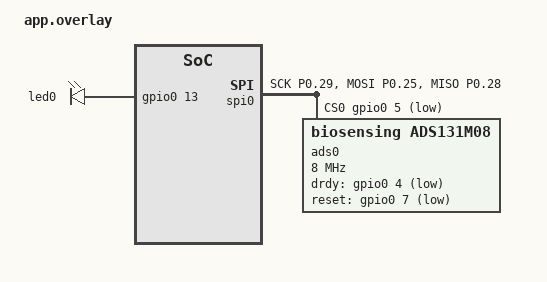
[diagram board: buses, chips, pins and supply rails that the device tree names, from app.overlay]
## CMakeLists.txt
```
cmake_minimum_required(VERSION 3.20.0)
# Standalone application: no external source tree or configuration fragments.
include(${CMAKE_CURRENT_LIST_DIR}/board.cmake)
set(USER_CACHE_DIR "${CMAKE_BINARY_DIR}/.cache" CACHE PATH "Local compiler cache")
# The SDK DK runner also targets its onboard nRF52832; this is a real nRF52810.
# This application hook runs as the SDK finalizes each runner (NCS v3.3.1).
macro(app_set_runner_args)
  get_property(bio_jlink_args GLOBAL PROPERTY BOARD_RUNNER_ARGS_EXPLICIT_jlink)
  list(FILTER bio_jlink_args EXCLUDE REGEX "^--device=")
  set_property(GLOBAL PROPERTY BOARD_RUNNER_ARGS_EXPLICIT_jlink ${bio_jlink_args})
  board_runner_args(jlink "--device=nRF52810_xxAA")
  # The DK finalizes OpenOCD after pyOCD, before writing runner metadata.
  # Remove its already-registered nRF52832 pyOCD target in this hook.
  get_property(bio_runners GLOBAL PROPERTY ZEPHYR_RUNNERS)
  list(REMOVE_ITEM bio_runners pyocd)
  set_property(GLOBAL PROPERTY ZEPHYR_RUNNERS ${bio_runners})
endmacro()
find_package(Zephyr REQUIRED HINTS $ENV{ZEPHYR_BASE})
project(biosensing)
if(CONFIG_SOC_NRF52810)
  # SDK nrf52dk/nrf52810 emulates an 810 on a 832. This carrier has real 810 silicon.
  get_property(bio_defs TARGET zephyr_interface PROPERTY INTERFACE_COMPILE_DEFINITIONS)
  list(REMOVE_ITEM bio_defs DEVELOP_IN_NRF52832 NRFX_COREDEP_DELAY_US_LOOP_CYCLES=3)
  set_property(TARGET zephyr_interface PROPERTY INTERFACE_COMPILE_DEFINITIONS "${bio_defs}")
endif()
target_include_directories(app PRIVATE include)
target_sources(app PRIVATE src/main.c src/app.c src/protocol.c src/transport.c src/ble.c)
target_sources_ifdef(CONFIG_BIO_ADS app PRIVATE src/ads131m08.c)
target_sources_ifdef(CONFIG_BIO_I2C_SENSORS app PRIVATE src/sensors.c)
target_sources_ifdef(CONFIG_BIO_USB app PRIVATE src/usb.c)
target_sources_ifdef(CONFIG_BIO_AUX_UART app PRIVATE src/aux_uart.c)
target_sources_ifdef(CONFIG_BIO_AUDIO app PRIVATE src/audio.c)
target_sources_ifdef(CONFIG_BIO_DMIC app PRIVATE src/dmic.c)
```

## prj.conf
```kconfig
# bt832a: default preset. This is the complete configuration.
# Select nrf52dk/nrf52810 with NCS v3.3.1 and sysbuild.
# No EXTRA_CONF_FILE or other custom build arguments are needed.

CONFIG_GPIO=y
CONFIG_BT=y
CONFIG_BT_PERIPHERAL=y
CONFIG_BT_MAX_CONN=1
CONFIG_LOG=y
CONFIG_LOG_DEFAULT_LEVEL=3
CONFIG_USE_SEGGER_RTT=y
CONFIG_CONSOLE=y
CONFIG_UART_CONSOLE=n
CONFIG_RTT_CONSOLE=y
CONFIG_LOG_BACKEND_UART=n
CONFIG_LOG_BACKEND_RTT=n
CONFIG_SHELL_BACKEND_SERIAL=n
CONFIG_SHELL_VT100_COLORS=n
CONFIG_SHELL_CMDS_RESIZE=n
CONFIG_REBOOT=y
CONFIG_SERIAL=n
# Modules do not require an external 32.768 kHz crystal for bring-up.
CONFIG_CLOCK_CONTROL_NRF_K32SRC_RC=y
CONFIG_CLOCK_CONTROL_NRF_K32SRC_XTAL=n

# Historical nrf52832A directory actually selected nRF52810 (192K/24K).
CONFIG_BIO_PROFILE="BT832A / nRF52810 legacy"
CONFIG_BT_DEVICE_NAME="BT832A-v3"
CONFIG_SHELL=n
CONFIG_SHELL_BACKEND_RTT=n
CONFIG_BIO_TX_DEPTH=2
CONFIG_BIO_COMMAND_DEPTH=2
CONFIG_BIO_REPLY_DEPTH=1
CONFIG_BIO_ADS_STACK=1024
CONFIG_BT_RX_STACK_SIZE=1024
CONFIG_MAIN_STACK_SIZE=1536
CONFIG_SYSTEM_WORKQUEUE_STACK_SIZE=1536
CONFIG_BT_RECV_WORKQ_SYS=y
CONFIG_LOG_MODE_MINIMAL=y
CONFIG_SEGGER_RTT_BUFFER_SIZE_UP=256
CONFIG_ISR_STACK_SIZE=1024
# Small ATT buffers: use the framed stream, not the 227-byte legacy notification.
CONFIG_BT_L2CAP_TX_MTU=64
CONFIG_BT_BUF_ACL_RX_SIZE=68
CONFIG_BT_BUF_ACL_TX_SIZE=68
CONFIG_BT_BUF_EVT_RX_COUNT=3
CONFIG_BT_BUF_EVT_DISCARDABLE_COUNT=1
CONFIG_BT_BUF_ACL_TX_COUNT=1
CONFIG_BT_L2CAP_TX_BUF_COUNT=2
CONFIG_BT_L2CAP_TX_FRAG_COUNT=1
CONFIG_BT_ATT_TX_COUNT=1
CONFIG_BT_CTLR_SDC_TX_PACKET_COUNT=1
CONFIG_BT_CTLR_SDC_RX_PACKET_COUNT=1
CONFIG_HEAP_MEM_POOL_SIZE=512
CONFIG_SIZE_OPTIMIZATIONS=y
```

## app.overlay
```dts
// bt832a: complete carrier overlay; automatically loaded by Zephyr.
#include <zephyr/dt-bindings/gpio/gpio.h>
#include <zephyr/dt-bindings/pinctrl/nrf-pinctrl.h>
/ { aliases { bio-led = &led0; ads0 = &ads0; }; };
&led0 { gpios = <&gpio0 13 GPIO_ACTIVE_HIGH>; };
&led1 { status = "disabled"; };
&led2 { status = "disabled"; };
&led3 { status = "disabled"; };
&button0 { status = "disabled"; };
&button1 { status = "disabled"; };
&button2 { status = "disabled"; };
&button3 { status = "disabled"; };
&uart0 { status = "disabled"; };
&i2c0 { status = "disabled"; };
&adc { status = "disabled"; };
&gpio0 { /delete-property/ gpio-reserved-ranges; };
&spi0 {
	// Polling SPI also works on nRF52810, which has no SPIM EasyDMA.
	compatible = "nordic,nrf-spi";
	status = "okay";
	pinctrl-0 = <&bio_spi_default>;
	pinctrl-1 = <&bio_spi_sleep>;
	pinctrl-names = "default", "sleep";
	cs-gpios = <&gpio0 5 GPIO_ACTIVE_LOW>;
	ads0: adc@0 {
		compatible = "biosensing,ads131m08";
		reg = <0>;
		spi-max-frequency = <8000000>;
		drdy-gpios = <&gpio0 4 (GPIO_ACTIVE_LOW | GPIO_PULL_UP)>;
		reset-gpios = <&gpio0 7 GPIO_ACTIVE_LOW>;
	};
};
&pinctrl {
	bio_spi_default: bio_spi_default { group1 { psels = <NRF_PSEL(SPIM_SCK, 0, 29)>, <NRF_PSEL(SPIM_MOSI, 0, 25)>, <NRF_PSEL(SPIM_MISO, 0, 28)>; }; };
	bio_spi_sleep: bio_spi_sleep { group1 { psels = <NRF_PSEL(SPIM_SCK, 0, 29)>, <NRF_PSEL(SPIM_MOSI, 0, 25)>, <NRF_PSEL(SPIM_MISO, 0, 28)>; low-power-enable; }; };
};
```

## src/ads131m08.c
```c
// Fixed 24-bit, 10-word ADS131M08 frames. Register layout follows the old driver.
#include "bio.h"
#include <string.h>
#include <zephyr/drivers/gpio.h>
#include <zephyr/drivers/spi.h>
#include <zephyr/logging/log.h>
#include <zephyr/sys/byteorder.h>
LOG_MODULE_REGISTER(bio_ads, LOG_LEVEL_INF);
#define ADS_COUNT (1 + IS_ENABLED(CONFIG_BIO_ADS_SECOND))
#define ADS_SPEC(node) { .spi = SPI_DT_SPEC_GET(node, SPI_WORD_SET(8) | SPI_MODE_CPHA), \
	.drdy = GPIO_DT_SPEC_GET(node, drdy_gpios), .reset = GPIO_DT_SPEC_GET(node, reset_gpios) }
struct ads_device {
	struct spi_dt_spec spi;
	struct gpio_dt_spec drdy, reset;
	struct gpio_callback cb;
	bool ready, running;
	atomic_t edges;
	uint8_t count, packet[227];
};
static struct ads_device adc[ADS_COUNT] = {
	ADS_SPEC(DT_ALIAS(ads0)),
#if defined(CONFIG_BIO_ADS_SECOND)
	ADS_SPEC(DT_ALIAS(ads1)),
#endif
};
K_MUTEX_DEFINE(ads_lock);
K_SEM_DEFINE(ads_wake, 0, 1);
static atomic_t pending, coalesced, spi_errors, crc_errors;

static int transfer(struct ads_device *dev, uint8_t *tx, uint8_t *rx)
{
	struct spi_buf tx_buf = { .buf = tx, .len = 30 };
	struct spi_buf rx_buf = { .buf = rx, .len = 30 };
	struct spi_buf_set tx_set = { .buffers = &tx_buf, .count = 1 };
	struct spi_buf_set rx_set = { .buffers = &rx_buf, .count = 1 };
	int err = spi_transceive_dt(&dev->spi, &tx_set, &rx_set);
	if (err) { atomic_inc(&spi_errors); }
	return err;
}
static int reg_read(struct ads_device *dev, unsigned reg, uint16_t *value)
{
	uint8_t tx[30] = {0}, rx[30];
	sys_put_be16(0xa000 | (reg << 7), tx);
	int err = transfer(dev, tx, rx);
	if (err) { return err; }
	memset(tx, 0, sizeof(tx));
	err = transfer(dev, tx, rx);
	if (!err) { *value = sys_get_be16(rx); }
	return err;
}
static int reg_write(struct ads_device *dev, unsigned reg, uint16_t value)
{
	uint8_t tx[30] = {0}, rx[30];
	sys_put_be16(0x6000 | (reg << 7), tx);
	sys_put_be16(value, tx + 3);
	int err = transfer(dev, tx, rx);
	if (err) { return err; }
	memset(tx, 0, sizeof(tx));
	err = transfer(dev, tx, rx);
	if (err) { return err; }
	if (sys_get_be16(rx) != (0x4000 | (reg << 7))) { return -EIO; }
	uint16_t actual;
	err = reg_read(dev, reg, &actual);
	return err ? err : (actual == value ? 0 : -EIO);
}
static void drdy_irq(const struct device *port, struct gpio_callback *cb, gpio_port_pins_t pins)
{
	struct ads_device *dev = CONTAINER_OF(cb, struct ads_device, cb);
	unsigned index = dev - adc;
	atomic_inc(&dev->edges);
	if (atomic_test_and_set_bit(&pending, index)) { atomic_inc(&coalesced); }
	k_sem_give(&ads_wake);
}
static bool crc_valid(const uint8_t *frame)
{
	uint16_t crc = 0xffff;
	for (unsigned i = 0; i < 27; i++) {
		crc ^= (uint16_t)frame[i] << 8;
		for (unsigned j = 0; j < 8; j++) { crc = (crc & 0x8000) ? (crc << 1) ^ 0x1021 : crc << 1; }
	}
	return crc == sys_get_be16(frame + 27);
}
static void acquisition(void *a, void *b, void *c)
{
	while (true) {
		k_sem_take(&ads_wake, K_FOREVER);
		k_mutex_lock(&ads_lock, K_FOREVER);
		for (unsigned i = 0; i < ADS_COUNT; i++) {
			struct ads_device *dev = &adc[i];
			if (!atomic_test_and_clear_bit(&pending, i) || !dev->running) { continue; }
			uint8_t tx[30] = {0}, rx[30];
			uint8_t sequence = atomic_get(&dev->edges);
			int err = transfer(dev, tx, rx);
			if (err) { dev->count = 0; continue; }
			if (!crc_valid(rx)) {
				atomic_inc(&crc_errors);
				dev->count = 0;
				continue;
			}
			// Keep the existing client payload: 9 * (8 signed BE24 channels + counter), CR LF.
			memcpy(dev->packet + 25 * dev->count, rx + 3, 24);
			dev->packet[25 * dev->count + 24] = sequence;
			if (++dev->count == 9) {
				dev->packet[225] = '\r'; dev->packet[226] = '\n';
				bio_publish(BIO_ADS0 + i, dev->packet, sizeof(dev->packet));
				dev->count = 0;
			}
		}
		k_mutex_unlock(&ads_lock);
	}
}
K_THREAD_DEFINE(ads_thread, CONFIG_BIO_ADS_STACK, acquisition, NULL, NULL, NULL, 4, 0, SYS_FOREVER_MS);
int bio_ads_init(void)
{
	int result = 0;
	for (unsigned i = 0; i < ADS_COUNT; i++) {
		struct ads_device *dev = &adc[i];
		int err = 0;
		if (!spi_is_ready_dt(&dev->spi) || !gpio_is_ready_dt(&dev->drdy) || !gpio_is_ready_dt(&dev->reset)) { err = -ENODEV; }
		if (!err) { err = gpio_pin_configure_dt(&dev->reset, GPIO_OUTPUT_ACTIVE); }
		if (!err) {
			k_msleep(2);
			err = gpio_pin_set_dt(&dev->reset, 0);
			k_msleep(10);
		}
		if (!err) { err = gpio_pin_configure_dt(&dev->drdy, GPIO_INPUT); }
		uint16_t id = 0;
		if (!err) { err = reg_read(dev, 0, &id); }
		if (!err && (id & 0xff00) != 0x2800) { err = -ENODEV; }
		if (!err) { err = reg_write(dev, 2, 0x0110); } // 24-bit, CCITT output CRC, clear RESET.
		if (!err) { err = reg_write(dev, 3, 0xff1f); } // 250 SPS with an 8.192 MHz CLKIN.
		if (!err) { err = reg_write(dev, 4, 0x5555); }
		if (!err) { err = reg_write(dev, 5, 0x5555); } // All channels gain 32.
		if (!err) {
			gpio_init_callback(&dev->cb, drdy_irq, BIT(dev->drdy.pin));
			err = gpio_add_callback(dev->drdy.port, &dev->cb);
		}
		dev->ready = !err;
		if (err) { result = err; LOG_WRN("ADS%u ID=0x%04x unavailable (%d)", i, id, err); }
		else { LOG_INF("ADS%u ID=0x%04x ready, sampling stopped", i, id); }
	}
	k_thread_start(ads_thread);
	return result;
}
int bio_ads_start(unsigned index, bool enable)
{
	if (index >= ADS_COUNT || !adc[index].ready) { return -ENODEV; }
	k_mutex_lock(&ads_lock, K_FOREVER);
	struct ads_device *dev = &adc[index];
	int err = 0;
	if (dev->running == enable) { goto done; }
	if (enable) {
		// Drain stale conversion words before enabling data-ready interrupts.
		uint8_t tx[30] = {0}, rx[30];
		err = transfer(dev, tx, rx);
		if (!err) { err = transfer(dev, tx, rx); }
	}
	if (!err) { err = gpio_pin_interrupt_configure_dt(&dev->drdy, enable ? GPIO_INT_EDGE_TO_ACTIVE : GPIO_INT_DISABLE); }
	if (!err) { dev->running = enable; dev->count = 0; atomic_clear_bit(&pending, index); }
done:
	k_mutex_unlock(&ads_lock);
	return err;
}
int bio_ads_control(const struct bio_command *cmd, uint16_t *value)
{
	if (cmd->id >= ADS_COUNT || !adc[cmd->id].ready) { return -ENODEV; }
	k_mutex_lock(&ads_lock, K_FOREVER);
	struct ads_device *dev = &adc[cmd->id];
	int err = -EBUSY;
	if (dev->running) { goto done; }
	switch (cmd->op) {
	case BIO_ADS_READ: err = reg_read(dev, cmd->reg, value); break;
	case BIO_ADS_WRITE:
		// The parser disallows MODE: changing word length or CRC breaks the transport.
		err = reg_write(dev, cmd->reg, cmd->value); break;
	case BIO_ADS_GAIN: {
		unsigned code = 0;
		for (unsigned g = cmd->value; g > 1; g >>= 1) { code++; }
		err = reg_write(dev, 4, code * 0x1111);
		if (!err) { err = reg_write(dev, 5, code * 0x1111); }
		break;
	}
	case BIO_ADS_RATE: {
		unsigned osr = cmd->value == 250 ? 7 : cmd->value == 500 ? 6 : cmd->value == 1000 ? 5 : 4;
		err = reg_read(dev, 3, value);
		if (!err) { err = reg_write(dev, 3, (*value & 0xff00) | (osr << 2) | 3); }
		break;
	}
	default: err = -EINVAL;
	}
done:
	k_mutex_unlock(&ads_lock);
	return err;
}
unsigned bio_ads_ready(void)
{
	unsigned mask = 0;
	for (unsigned i = 0; i < ADS_COUNT; i++) { if (adc[i].ready) { mask |= BIT(i); } }
	return mask;
}
struct bio_adc_stats bio_ads_stats(void)
{
	return (struct bio_adc_stats){ .irq = atomic_get(&coalesced),
		.spi = atomic_get(&spi_errors), .crc = atomic_get(&crc_errors) };
}

unsigned bio_ads_missed(void)
{
	struct bio_adc_stats stats = bio_ads_stats();
	return stats.irq + stats.spi + stats.crc;
}

unsigned bio_ads_running(void)
{
	unsigned mask = 0;
	k_mutex_lock(&ads_lock, K_FOREVER);
	for (unsigned i = 0; i < ADS_COUNT; i++) {
		if (adc[i].running) { mask |= BIT(i); }
	}
	k_mutex_unlock(&ads_lock);
	return mask;
}
```

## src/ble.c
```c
#include "bio.h"
#include "transport.h"
#include <string.h>
#include <stdio.h>
#include <zephyr/bluetooth/bluetooth.h>
#include <zephyr/bluetooth/conn.h>
#include <zephyr/bluetooth/gatt.h>
#include <zephyr/logging/log.h>
LOG_MODULE_REGISTER(bio_ble, LOG_LEVEL_INF);
#define UUID_BYTES(n) BT_UUID_128_ENCODE(((n) << 16) | 0xcafe, 0xb0ba, 0x8bad, 0xf00d, 0xdeadbeef0000)
#define UUID_VAR(name, n) static const struct bt_uuid_128 name = BT_UUID_INIT_128(UUID_BYTES(n))
UUID_VAR(service_uuid, 0);
UUID_VAR(ads0_uuid, 2); UUID_VAR(max_uuid, 3); UUID_VAR(mpu_uuid, 4);
UUID_VAR(ads1_uuid, 5); UUID_VAR(bme_uuid, 6); UUID_VAR(qmc_uuid, 8);
UUID_VAR(control_uuid, 9); UUID_VAR(beacon_uuid, 10);
UUID_VAR(text_uuid, 11); UUID_VAR(reply_uuid, 12); UUID_VAR(stream_uuid, 13);
static struct bt_conn *connection;
K_MUTEX_DEFINE(connection_lock);
K_MUTEX_DEFINE(reply_lock);
static atomic_t initialized, dropped, next_sequence, scanning;
static struct bio_link link;
#define INITIAL_REPLY "ready; write help to text characteristic"
static char last_reply[BIO_PACKET_MAX] = INITIAL_REPLY;
struct tx_packet { uint32_t session; uint16_t len, seq; uint8_t sensor; uint8_t data[BIO_PACKET_MAX]; };
K_MSGQ_DEFINE(data_queue, sizeof(struct tx_packet), CONFIG_BIO_TX_DEPTH, 4);
K_MSGQ_DEFINE(reply_queue, sizeof(struct tx_packet), CONFIG_BIO_REPLY_DEPTH, 4);
K_SEM_DEFINE(tx_wake, 0, 1);

static ssize_t write_command(struct bt_conn *conn, const struct bt_gatt_attr *attr,
	const void *buf, uint16_t len, uint16_t offset, uint8_t flags)
{
	if (offset) { return BT_GATT_ERR(BT_ATT_ERR_INVALID_OFFSET); }
	if (flags & BT_GATT_WRITE_FLAG_PREPARE) { return BT_GATT_ERR(BT_ATT_ERR_NOT_SUPPORTED); }
	bool binary = bt_uuid_cmp(attr->uuid, &control_uuid.uuid) == 0;
	if (!len || len >= BIO_COMMAND_MAX || (binary && len < 3)) { return BT_GATT_ERR(BT_ATT_ERR_INVALID_ATTRIBUTE_LEN); }
	k_mutex_lock(&connection_lock, K_FOREVER);
	uint32_t token = connection == conn ? bio_link_token(&link) : 0;
	k_mutex_unlock(&connection_lock);
	if (!token) { return BT_GATT_ERR(BT_ATT_ERR_UNLIKELY); }
	int err = bio_submit(BIO_ORIGIN_BLE, buf, len, binary, token);
	return err ? BT_GATT_ERR(BT_ATT_ERR_INSUFFICIENT_RESOURCES) : len;
}
static ssize_t read_reply(struct bt_conn *conn, const struct bt_gatt_attr *attr,
	void *buf, uint16_t len, uint16_t offset)
{
	k_mutex_lock(&reply_lock, K_FOREVER);
	ssize_t ret = bt_gatt_attr_read(conn, attr, buf, len, offset, last_reply, strlen(last_reply));
	k_mutex_unlock(&reply_lock);
	return ret;
}
#define DATA_CHARACTERISTIC(id) \
	BT_GATT_CHARACTERISTIC(&(id).uuid, BT_GATT_CHRC_NOTIFY, BT_GATT_PERM_NONE, NULL, NULL, NULL), \
	BT_GATT_CCC(NULL, BT_GATT_PERM_READ | BT_GATT_PERM_WRITE)
BT_GATT_SERVICE_DEFINE(bio_service,
	BT_GATT_PRIMARY_SERVICE(&service_uuid),
	BT_GATT_CHARACTERISTIC(&control_uuid.uuid, BT_GATT_CHRC_WRITE, BT_GATT_PERM_WRITE, NULL, write_command, NULL),
	DATA_CHARACTERISTIC(ads0_uuid),
#if defined(CONFIG_BIO_ADS_SECOND)
	DATA_CHARACTERISTIC(ads1_uuid),
#endif
#if defined(CONFIG_BIO_I2C_SENSORS)
	DATA_CHARACTERISTIC(max_uuid), DATA_CHARACTERISTIC(mpu_uuid),
	DATA_CHARACTERISTIC(bme_uuid), DATA_CHARACTERISTIC(qmc_uuid),
#endif
#if defined(CONFIG_BIO_BEACONS)
	DATA_CHARACTERISTIC(beacon_uuid),
#endif
	BT_GATT_CHARACTERISTIC(&text_uuid.uuid, BT_GATT_CHRC_WRITE, BT_GATT_PERM_WRITE, NULL, write_command, NULL),
	BT_GATT_CHARACTERISTIC(&reply_uuid.uuid, BT_GATT_CHRC_READ | BT_GATT_CHRC_NOTIFY, BT_GATT_PERM_READ, read_reply, NULL, NULL),
	BT_GATT_CCC(NULL, BT_GATT_PERM_READ | BT_GATT_PERM_WRITE),
	DATA_CHARACTERISTIC(stream_uuid)
);
static const struct bt_gatt_attr *attribute(const struct bt_uuid_128 *uuid)
{
	return bt_gatt_find_by_uuid(bio_service.attrs, bio_service.attr_count, &uuid->uuid);
}
static const struct bt_uuid_128 *legacy_uuid(unsigned sensor)
{
	switch (sensor) {
	case BIO_ADS0: return &ads0_uuid; case BIO_ADS1: return &ads1_uuid;
	case BIO_MAX: return &max_uuid; case BIO_MPU: return &mpu_uuid;
	case BIO_BME: return &bme_uuid; case BIO_QMC: return &qmc_uuid;
	case BIO_BEACON: return &beacon_uuid; default: return NULL;
	}
}
static struct bt_conn *get_connection(uint32_t token)
{
	k_mutex_lock(&connection_lock, K_FOREVER);
	struct bt_conn *conn = connection && bio_link_accepts(&link, token) ? bt_conn_ref(connection) : NULL;
	k_mutex_unlock(&connection_lock);
	return conn;
}
static int notify(struct bt_conn *conn, const struct bt_gatt_attr *attr, const uint8_t *data, size_t len, uint32_t token)
{
	int err = -ENOTCONN;
	for (unsigned retry = 0; retry < 3 && token == bio_ble_session(); retry++) {
		err = bt_gatt_notify(conn, attr, data, len);
		if (err != -ENOMEM && err != -EAGAIN) { break; }
		k_msleep(5);
	}
	return err;
}
static void send_packet(struct tx_packet *p)
{
	struct bt_conn *conn = get_connection(p->session);
	if (!conn) { return; }
	size_t limit = bt_gatt_get_mtu(conn) - 3;
	const struct bt_uuid_128 *legacy = legacy_uuid(p->sensor);
	if (legacy) {
		const struct bt_gatt_attr *attr = attribute(legacy);
		if (attr && bt_gatt_is_subscribed(conn, attr, BT_GATT_CCC_NOTIFY)) {
			// A legacy packet is atomic: never truncate or silently split it.
			if (p->len > limit || notify(conn, attr, p->data, p->len, p->session)) { atomic_inc(&dropped); }
		}
	}
	const struct bt_gatt_attr *attr = attribute(p->sensor == BIO_RESPONSE ? &reply_uuid : &stream_uuid);
	if (bt_gatt_is_subscribed(conn, attr, BT_GATT_CCC_NOTIFY)) {
		uint8_t frame[BIO_PACKET_MAX + BIO_FRAME_HEADER];
		size_t offset = 0;
		while (offset < p->len) {
			size_t len = bio_frame(frame, MIN(limit, sizeof(frame)), p->sensor, p->seq, p->data, p->len, offset);
			if (!len || notify(conn, attr, frame, len, p->session)) { atomic_inc(&dropped); break; }
			offset += len - BIO_FRAME_HEADER;
		}
	}
	bt_conn_unref(conn);
}
static void transmit(void *a, void *b, void *c)
{
	struct tx_packet p;
	while (true) {
		k_sem_take(&tx_wake, K_FOREVER);
		while (!k_msgq_get(&reply_queue, &p, K_NO_WAIT) || !k_msgq_get(&data_queue, &p, K_NO_WAIT)) { send_packet(&p); }
	}
}
K_THREAD_DEFINE(ble_tx_thread, 1536, transmit, NULL, NULL, NULL, 6, 0, 0);
static int enqueue(uint8_t sensor, const void *data, size_t len, uint32_t token)
{
	if (!atomic_get(&initialized)) { return -ENOTCONN; }
	if (!data || !len || len > BIO_PACKET_MAX) { return -EMSGSIZE; }
	struct bt_conn *conn = get_connection(token);
	if (!conn) { return -ENOTCONN; }
	bt_conn_unref(conn);
	struct tx_packet p = { .session = token, .sensor = sensor, .len = len, .seq = atomic_inc(&next_sequence) };
	memcpy(p.data, data, len);
	int err = k_msgq_put(sensor == BIO_RESPONSE ? &reply_queue : &data_queue, &p, K_NO_WAIT);
	if (err) { atomic_inc(&dropped); }
	else { k_sem_give(&tx_wake); }
	return err;
}
int bio_ble_send(uint8_t sensor, const void *data, size_t len) { return enqueue(sensor, data, len, bio_ble_session()); }
void bio_ble_reply(const char *reply, uint32_t token)
{
	/* Lock order is always connection -> reply. Disconnect cannot expose an old reply. */
	k_mutex_lock(&connection_lock, K_FOREVER);
	if (!bio_link_accepts(&link, token)) {
		k_mutex_unlock(&connection_lock);
		return;
	}
	k_mutex_lock(&reply_lock, K_FOREVER);
	snprintf(last_reply, sizeof(last_reply), "%s", reply);
	k_mutex_unlock(&reply_lock);
	k_mutex_unlock(&connection_lock);
	(void)enqueue(BIO_RESPONSE, reply, strlen(reply), token);
}
uint32_t bio_ble_session(void)
{
	k_mutex_lock(&connection_lock, K_FOREVER);
	uint32_t token = bio_link_token(&link);
	k_mutex_unlock(&connection_lock);
	return token;
}
unsigned bio_ble_dropped(void) { return atomic_get(&dropped); }
bool bio_ble_ready(void) { return atomic_get(&initialized) != 0; }
bool bio_ble_scanning(void) { return atomic_get(&scanning) != 0; }
static const struct bt_data advertising[] = {
	BT_DATA_BYTES(BT_DATA_FLAGS, BT_LE_AD_GENERAL | BT_LE_AD_NO_BREDR),
	BT_DATA_BYTES(BT_DATA_UUID128_ALL, UUID_BYTES(0)),
};
static const struct bt_data scan_response[] = { BT_DATA(BT_DATA_NAME_COMPLETE, CONFIG_BT_DEVICE_NAME, sizeof(CONFIG_BT_DEVICE_NAME) - 1) };
static void advertise(struct k_work *work);
K_WORK_DELAYABLE_DEFINE(advertise_work, advertise);
static void advertise(struct k_work *work)
{
	int err = bt_le_adv_start(BT_LE_ADV_CONN_FAST_1, advertising, ARRAY_SIZE(advertising), scan_response, ARRAY_SIZE(scan_response));
	if (err && err != -EALREADY) { LOG_WRN("Advertising: %d; retrying", err); k_work_reschedule(&advertise_work, K_SECONDS(1)); }
}
static void connected(struct bt_conn *conn, uint8_t err)
{
	if (err) { k_work_reschedule(&advertise_work, K_MSEC(100)); return; }
	k_mutex_lock(&connection_lock, K_FOREVER);
	if (!connection) {
		connection = bt_conn_ref(conn);
		bio_link_set(&link, true);
		k_mutex_lock(&reply_lock, K_FOREVER);
		strcpy(last_reply, INITIAL_REPLY);
		k_mutex_unlock(&reply_lock);
	}
	k_mutex_unlock(&connection_lock);
	LOG_INF("BLE connected");
}
static void disconnected(struct bt_conn *conn, uint8_t reason)
{
	k_mutex_lock(&connection_lock, K_FOREVER);
	if (connection == conn) {
		bt_conn_unref(connection);
		connection = NULL;
		bio_link_set(&link, false);
		k_mutex_lock(&reply_lock, K_FOREVER);
		strcpy(last_reply, INITIAL_REPLY);
		k_mutex_unlock(&reply_lock);
		k_msgq_purge(&data_queue);
		k_msgq_purge(&reply_queue);
	}
	k_mutex_unlock(&connection_lock);
	LOG_INF("BLE disconnected: %u", reason);
	k_work_reschedule(&advertise_work, K_MSEC(100));
}
BT_CONN_CB_DEFINE(connection_callbacks) = { .connected = connected, .disconnected = disconnected };
int bio_ble_init(void)
{
	int err = bt_enable(NULL);
	if (!err) { atomic_set(&initialized, 1); k_work_reschedule(&advertise_work, K_NO_WAIT); }
	return err;
}
#if defined(CONFIG_BIO_BEACONS)
struct beacon_context { const bt_addr_le_t *addr; int8_t rssi; };
static bool beacon_data(struct bt_data *data, void *user)
{
	struct beacon_context *ctx = user;
	// Apple manufacturer ID, iBeacon type and length, all checked before access.
	if (data->type == BT_DATA_MANUFACTURER_DATA && data->data_len == 25 &&
	    data->data[0] == 0x4c && data->data[1] == 0 && data->data[2] == 2 && data->data[3] == 0x15) {
		uint8_t report[28];
		memcpy(report, ctx->addr->a.val, 6); report[6] = ctx->rssi;
		memcpy(report + 7, data->data + 4, 21);
		bio_publish(BIO_BEACON, report, sizeof(report));
	}
	return true;
}
static void scan_report(const bt_addr_le_t *addr, int8_t rssi, uint8_t type, struct net_buf_simple *ad)
{
	struct beacon_context context = { .addr = addr, .rssi = rssi };
	bt_data_parse(ad, beacon_data, &context);
}
#endif
int bio_ble_scan(bool enable)
{
#if defined(CONFIG_BIO_BEACONS)
	if (!atomic_get(&initialized)) { return -EAGAIN; }
	int err = enable ? bt_le_scan_start(BT_LE_SCAN_PASSIVE, scan_report) : bt_le_scan_stop();
	if (!err || err == -EALREADY) { atomic_set(&scanning, enable); }
	return err == -EALREADY ? 0 : err;
#else
	return -ENOTSUP;
#endif
}
```
